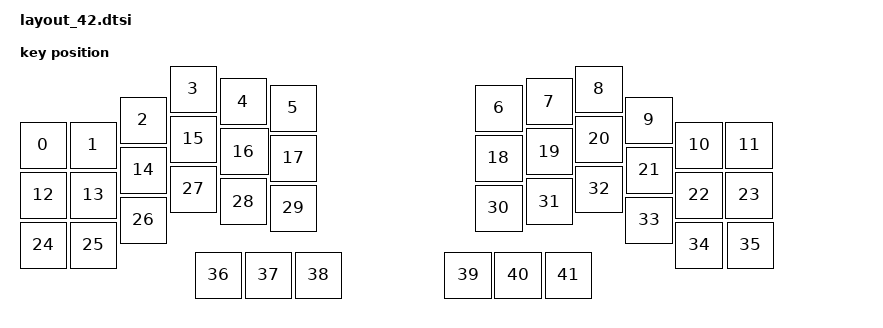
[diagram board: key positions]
#include "position_map.dtsi"
#include <physical_layouts.dtsi>

/ {
    gggw_crosses_42_layout: gggw_crosses_42_layout {
        compatible = "zmk,physical-layout";
        display-name = "42 Key";

        keys  //                     w   h    x    y     rot    rx    ry
            = <&key_physical_attrs 100 100    0  112       0     0     0>
            , <&key_physical_attrs 100 100  100  112       0     0     0>
            , <&key_physical_attrs 100 100  200   62       0     0     0>
            , <&key_physical_attrs 100 100  300    0       0     0     0>
            , <&key_physical_attrs 100 100  400   25       0     0     0>
            , <&key_physical_attrs 100 100  500   38       0     0     0>
            , <&key_physical_attrs 100 100  912   38       0     0     0>
            , <&key_physical_attrs 100 100 1012   25       0     0     0>
            , <&key_physical_attrs 100 100 1112    0       0     0     0>
            , <&key_physical_attrs 100 100 1212   62       0     0     0>
            , <&key_physical_attrs 100 100 1312  112       0     0     0>
            , <&key_physical_attrs 100 100 1412  112       0     0     0>
            , <&key_physical_attrs 100 100    0  212       0     0     0>
            , <&key_physical_attrs 100 100  100  212       0     0     0>
            , <&key_physical_attrs 100 100  200  162       0     0     0>
            , <&key_physical_attrs 100 100  300  100       0     0     0>
            , <&key_physical_attrs 104 100  400  125       0     0     0>
            , <&key_physical_attrs 100 100  500  138       0     0     0>
            , <&key_physical_attrs 100 100  912  138       0     0     0>
            , <&key_physical_attrs 100 100 1012  125       0     0     0>
            , <&key_physical_attrs 100 100 1112  100       0     0     0>
            , <&key_physical_attrs 100 100 1213  162       0     0     0>
            , <&key_physical_attrs 100 100 1312  212       0     0     0>
            , <&key_physical_attrs 100 100 1412  212       0     0     0>
            , <&key_physical_attrs 100 100    0  312       0     0     0>
            , <&key_physical_attrs 100 100  100  312       0     0     0>
            , <&key_physical_attrs 100 100  200  262       0     0     0>
            , <&key_physical_attrs 100 100  300  200       0     0     0>
            , <&key_physical_attrs 100 100  400  225       0     0     0>
            , <&key_physical_attrs 100 100  500  238       0     0     0>
            , <&key_physical_attrs 100 100  912  238       0     0     0>
            , <&key_physical_attrs 100 100 1012  225       0     0     0>
            , <&key_physical_attrs 100 100 1112  200       0     0     0>
            , <&key_physical_attrs 100 100 1212  262       0     0     0>
            , <&key_physical_attrs 100 100 1312  312       0     0     0>
            , <&key_physical_attrs 100 100 1415  312       0     0     0>
            , <&key_physical_attrs 100 100  350  372       0     0     0>
            , <&key_physical_attrs 100 100  450  372       0     0     0>
            , <&key_physical_attrs 100 100  550  372       0     0     0>
            , <&key_physical_attrs 100 100  850  372       0     0     0>
            , <&key_physical_attrs 100 100  950  372       0     0     0>
            , <&key_physical_attrs 100 100 1050  372       0     0     0>
            ;
    };

};

&layouts_gggw_crosses_position_map {
    gggw_crosses_forty_two_posmap: ft {
        physical-layout = <&gggw_crosses_42_layout>;
        positions
            = <42 43 44 45 46 47 48 49 50 51 52 53>
            , < 0  1  2  3  4  5  6  7  8  9 10 11>
            , <12 13 14 15 16 17 18 19 20 21 22 23>
            , <24 25 26 27 28 29 30 31 32 33 34 35>
            , <         36 37 38 39 40 41         >
            ;
    };
};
